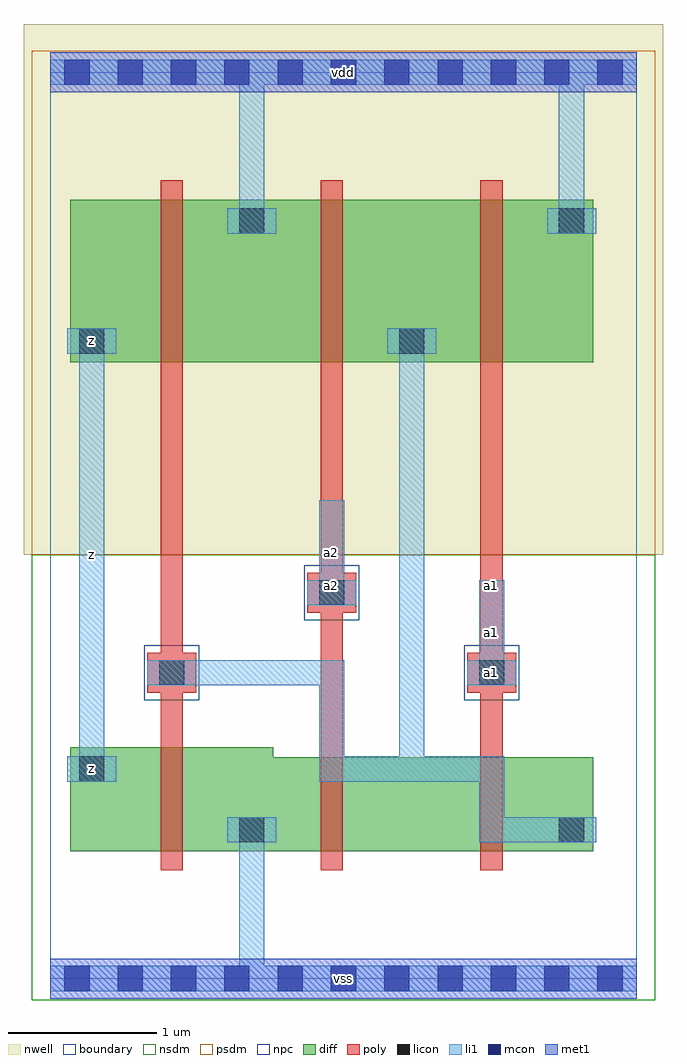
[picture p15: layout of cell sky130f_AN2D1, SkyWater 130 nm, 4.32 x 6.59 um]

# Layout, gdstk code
import gdstk
lib = gdstk.Library(unit=1e-6, precision=1e-09)
def R(c, l, rs):  # rectangles x0, y0, x1, y1
    for r in rs: c.add(gdstk.rectangle(r[:2], r[2:], *l))
def A(c, l, x, y, w, h, nx, ny, dx, dy):  # array of equal rectangles
    R(c, l, [(x+i*dx, y+j*dy, x+i*dx+w, y+j*dy+h) for i in range(nx) for j in range(ny)])
L0_0 = (0, 0)
nwell = (64, 20)
diff = (65, 20)
poly = (66, 20)
licon = (66, 44)
li1 = (67, 20)
mcon = (67, 44)
met1 = (68, 20)
nsdm = (93, 44)
psdm = (94, 20)
npc = (95, 20)
boundary = (235, 4)

sky130f_an2d1 = lib.new_cell('sky130f_AN2D1')
R(sky130f_an2d1, nwell, [(-0.18,2.86,4.14,6.445)])
A(sky130f_an2d1, diff, 0.135, 4.16, 1.37, 1.1, 3, 1, 1.08, 0)
R(sky130f_an2d1, diff, [(0.135,0.86,1.505,1.56), (1.215,0.86,2.585,1.495), (1.215,0.86,1.505,1.15), (2.295,0.86,3.665,1.495), (3.375,0.86,3.665,1.15), (0.135,1.27,0.425,1.56), (0.135,4.16,0.425,4.45), (2.295,4.16,2.585,4.45), (1.215,4.97,1.505,5.26), (3.375,4.97,3.665,5.26)])
A(sky130f_an2d1, poly, 0.745, 4.03, 0.15, 1.36, 3, 1, 1.08, 0)
R(sky130f_an2d1, poly, [(0.745,0.73,0.895,1.69), (1.825,0.73,1.975,1.625), (2.905,0.73,3.055,1.625), (1.825,0.93,1.975,4.38), (2.905,0.93,3.055,4.38), (0.745,1.34,0.895,2.14), (0.655,1.93,0.985,2.2), (2.815,1.93,3.145,2.2), (0.745,1.99,0.895,4.38), (1.735,2.47,2.065,2.74)])
R(sky130f_an2d1, licon, [(1.275,0.92,1.445,1.09), (3.435,0.92,3.605,1.09), (0.195,1.33,0.365,1.5), (0.735,1.98,0.905,2.15), (2.895,1.98,3.065,2.15), (1.815,2.52,1.985,2.69), (0.195,4.22,0.365,4.39), (2.355,4.22,2.525,4.39), (1.275,5.03,1.445,5.2), (3.435,5.03,3.605,5.2)])
R(sky130f_an2d1, li1, [(0,-0.085,3.96,0.085), (1.275,0.06,1.445,1.09), (1.195,0.92,1.525,1.09), (2.895,0.92,3.605,1.09), (2.895,0.92,3.065,1.5), (3.355,0.92,3.685,1.09), (0.115,1.33,0.445,1.5), (0.195,1.33,0.365,4.39), (1.815,1.33,3.065,1.5), (1.815,1.33,1.985,2.15), (2.355,1.33,2.525,4.39), (0.655,1.98,0.985,2.15), (0.735,1.98,1.985,2.15), (2.815,1.98,3.145,2.15), (2.895,1.98,3.065,2.69), (1.735,2.52,2.065,2.69), (1.815,2.52,1.985,3.23), (0.115,4.22,0.445,4.39), (2.275,4.22,2.605,4.39), (1.195,5.03,1.525,5.2), (1.275,5.03,1.445,6.06), (3.355,5.03,3.685,5.2), (3.435,5.03,3.605,6.06), (0,6.035,3.96,6.205)])
A(sky130f_an2d1, mcon, 0.095, -0.085, 0.17, 0.17, 11, 2, 0.36, 6.12)
R(sky130f_an2d1, met1, [(0,-0.135,3.96,0.135), (0,5.985,3.96,6.255)])
R(sky130f_an2d1, nsdm, [(-0.125,-0.145,4.085,0.145), (-0.125,0.145,4.085,2.86)])
R(sky130f_an2d1, psdm, [(-0.125,2.86,4.085,5.975), (-0.125,5.975,4.085,6.265)])
R(sky130f_an2d1, npc, [(0.635,1.88,1.005,2.25), (2.795,1.88,3.165,2.25), (1.715,2.42,2.085,2.79)])
R(sky130f_an2d1, boundary, [(0,0,3.96,6.12)])
sky130f_an2d1.add(gdstk.FlexPath([(0.115,0.355),(3.685,0.355)], 0, ends="flush", simple_path=True, layer=0, datatype=0))  # L0_0
sky130f_an2d1.add(gdstk.FlexPath([(0.115,1.005),(3.685,1.005)], 0, ends="flush", simple_path=True, layer=0, datatype=0))  # L0_0
sky130f_an2d1.add(gdstk.FlexPath([(0.115,1.415),(3.685,1.415)], 0, ends="flush", simple_path=True, layer=0, datatype=0))  # L0_0
sky130f_an2d1.add(gdstk.FlexPath([(0.115,2.065),(3.685,2.065)], 0, ends="flush", simple_path=True, layer=0, datatype=0))  # L0_0
sky130f_an2d1.add(gdstk.FlexPath([(0.115,2.605),(3.685,2.605)], 0, ends="flush", simple_path=True, layer=0, datatype=0))  # L0_0
sky130f_an2d1.add(gdstk.FlexPath([(0.115,3.145),(3.685,3.145)], 0, ends="flush", simple_path=True, layer=0, datatype=0))  # L0_0
sky130f_an2d1.add(gdstk.FlexPath([(0.115,4.305),(3.685,4.305)], 0, ends="flush", simple_path=True, layer=0, datatype=0))  # L0_0
sky130f_an2d1.add(gdstk.FlexPath([(0.115,4.775),(3.685,4.775)], 0, ends="flush", simple_path=True, layer=0, datatype=0))  # L0_0
sky130f_an2d1.add(gdstk.FlexPath([(0.115,5.115),(3.685,5.115)], 0, ends="flush", simple_path=True, layer=0, datatype=0))  # L0_0
sky130f_an2d1.add(gdstk.FlexPath([(0.115,5.765),(3.685,5.765)], 0, ends="flush", simple_path=True, layer=0, datatype=0))  # L0_0
sky130f_an2d1.add(gdstk.FlexPath([(0.28,0.06),(0.28,6.06)], 0, ends="flush", simple_path=True, layer=0, datatype=0))  # L0_0
sky130f_an2d1.add(gdstk.FlexPath([(0.82,0.06),(0.82,6.06)], 0, ends="flush", simple_path=True, layer=0, datatype=0))  # L0_0
sky130f_an2d1.add(gdstk.FlexPath([(1.36,0.06),(1.36,6.06)], 0, ends="flush", simple_path=True, layer=0, datatype=0))  # L0_0
sky130f_an2d1.add(gdstk.FlexPath([(1.9,0.06),(1.9,6.06)], 0, ends="flush", simple_path=True, layer=0, datatype=0))  # L0_0
sky130f_an2d1.add(gdstk.FlexPath([(2.44,0.06),(2.44,6.06)], 0, ends="flush", simple_path=True, layer=0, datatype=0))  # L0_0
sky130f_an2d1.add(gdstk.FlexPath([(2.98,0.06),(2.98,6.06)], 0, ends="flush", simple_path=True, layer=0, datatype=0))  # L0_0
sky130f_an2d1.add(gdstk.FlexPath([(3.52,0.06),(3.52,6.06)], 0, ends="flush", simple_path=True, layer=0, datatype=0))  # L0_0
sky130f_an2d1.add(gdstk.Label('z', (0.28,1.415), layer=65, texttype=20))
sky130f_an2d1.add(gdstk.Label('z', (0.28,4.305), layer=65, texttype=20))
sky130f_an2d1.add(gdstk.Label('a1', (2.98,2.655), layer=66, texttype=20))
sky130f_an2d1.add(gdstk.Label('a1', (2.98,2.065), layer=66, texttype=20))
sky130f_an2d1.add(gdstk.Label('a2', (1.9,2.655), layer=66, texttype=20))
sky130f_an2d1.add(gdstk.Label('a2', (1.9,2.605), layer=66, texttype=20))
sky130f_an2d1.add(gdstk.Label('z', (0.28,1.415), layer=66, texttype=44))
sky130f_an2d1.add(gdstk.Label('z', (0.28,4.305), layer=66, texttype=44))
sky130f_an2d1.add(gdstk.Label('a1', (2.98,2.065), layer=66, texttype=44))
sky130f_an2d1.add(gdstk.Label('a2', (1.9,2.605), layer=66, texttype=44))
sky130f_an2d1.add(gdstk.Label('a1', (2.98,2.065), layer=67, texttype=5))
sky130f_an2d1.add(gdstk.Label('a1', (2.98,2.335), layer=67, texttype=5))
sky130f_an2d1.add(gdstk.Label('z', (0.28,1.415), layer=67, texttype=5))
sky130f_an2d1.add(gdstk.Label('z', (0.28,4.305), layer=67, texttype=5))
sky130f_an2d1.add(gdstk.Label('z', (0.28,2.86), layer=67, texttype=5))
sky130f_an2d1.add(gdstk.Label('a2', (1.9,2.605), layer=67, texttype=5))
sky130f_an2d1.add(gdstk.Label('a2', (1.9,2.875), layer=67, texttype=5))
sky130f_an2d1.add(gdstk.Label('vss', (1.98,0), layer=67, texttype=5))
sky130f_an2d1.add(gdstk.Label('vdd', (1.98,6.12), layer=67, texttype=5))
sky130f_an2d1.add(gdstk.Label('vss', (1.98,0), layer=68, texttype=5))
sky130f_an2d1.add(gdstk.Label('vdd', (1.98,6.12), layer=68, texttype=5))

lib.write_gds('sky130f_AN2D1.gds')
